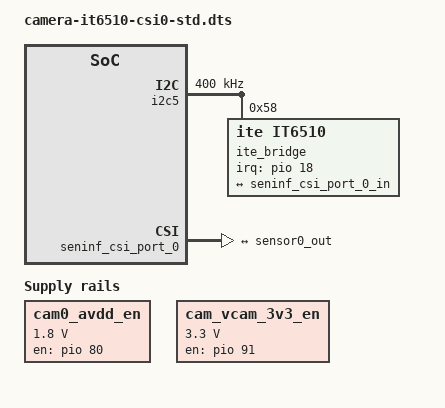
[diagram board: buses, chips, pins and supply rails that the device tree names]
// SPDX-License-Identifier: GPL-2.0
/*
 * Copyright (c) 2023 MediaTek Inc.
 *
 */

#include <dt-bindings/clock/mediatek,mt8188-clk.h>
#include <dt-bindings/gpio/gpio.h>
#include <dt-bindings/pinctrl/mediatek,mt8188-pinfunc.h>

/dts-v1/;
/plugin/;

#include "isp71.dtsi"

/ {
	fragment@4 {
		target-path = "/";
		__overlay__ {
			cam0_avdd_en: cam0-avdd-en-regulator {
				compatible = "regulator-fixed";
				regulator-name = "cam0_avdd_en";
				regulator-min-microvolt = <1800000>;
				regulator-max-microvolt = <1800000>;
				gpio = <&pio 80 0>;
				startup-delay-us = <18000>;
				enable-active-high;
				regulator-always-on;
				pinctrl-names = "default";
				pinctrl-0 = <&cam0_avdd_en_pins>;
			};

			cam_vcam_3v3_en: cam-vcam-3v3-en-regulator {
				compatible = "regulator-fixed";
				regulator-name = "cam_vcam_3v3_en";
				regulator-min-microvolt = <3300000>;
				regulator-max-microvolt = <3300000>;
				gpio = <&pio 91 GPIO_ACTIVE_HIGH>;
				enable-active-high;
				regulator-always-on;
				pinctrl-names = "default";
				pinctrl-0 = <&cam_vcam_3v3_en_pins>;
			};
		};
	};

	fragment@5 {
		target = <&spi2>;
		__overlay__ {
			status = "disabled";
		};
	};

	fragment@6 {
		target = <&pio>;
		__overlay__ {
			cam0_pins_default: cam0_pins_default {
				pins_cmd_dat {
					pinmux = <PINMUX_GPIO19__FUNC_B_GPIO19>,
						 <PINMUX_GPIO18__FUNC_B_GPIO18>;
				};
			};

			cam0_avdd_en_pins: cam0-avdd-en-pins {
				pins_cmd_dat {
					pinmux = <PINMUX_GPIO80__FUNC_B_GPIO80>;
				};
			};

			cam_vcam_3v3_en_pins: cam-vcam-3v3-en-pins {
				pins_cmd_dat {
					pinmux = <PINMUX_GPIO91__FUNC_B_GPIO91>;
				};
			};
		};
	};

	fragment@7 {
		target = <&i2c5>;
		__overlay__ {
			clock-frequency = <400000>;

			ite_bridge: it6510@58 {
				compatible = "ite,it6510";

				reg = <0x58>;
				status = "okay";

				pinctrl-names = "default";
				pinctrl-0 = <&cam0_pins_default>;

				interrupt-parent = <&pio>;
				interrupts = <18 IRQ_TYPE_LEVEL_LOW>;

				dp-lanes = /bits/ 8 <4>;
				dp-bitrate = /bits/ 8 <0x14>;

				port {
					sensor0_out: endpoint {
						remote-endpoint = <&seninf_csi_port_0_in>;
						data-lanes = <1 2 3 4>;
						link-frequencies = /bits/ 64 <480000000>;
					};
				};
			};
		};
	};

	fragment@8 {
		target = <&seninf_top>;
		__overlay__ {
			seninf_csi_port_0: seninf_csi_port_0 {
				compatible = "mediatek,seninf";
				csi-port = "0";
				hs_trail_parameter = <0x0>;

				port {
					seninf_csi_port_0_in: endpoint {
						remote-endpoint = <&sensor0_out>;
						data-lanes = <1 2 3 4>;
					};
				};
			};
		};
	};

	fragment@9 {
		target = <&hcp>;
		__overlay__ {
			status = "disabled";
		};
	};

	fragment@10 {
		target-path = "/soc/hcp_l15";
		__overlay__ {
			status = "disabled";
		};
	};

	fragment@11 {
		target-path = "/soc/imgsys_l10";
		__overlay__ {
			status = "disabled";
		};
	};

	fragment@12 {
		target-path = "/soc/imgsys_l11A";
		__overlay__ {
			status = "disabled";
		};
	};

	fragment@13 {
		target-path = "/soc/imgsys_l11C";
		__overlay__ {
			status = "disabled";
		};
	};

	fragment@14 {
		target = <&imgsys_fw>;
		__overlay__ {
			status = "disabled";
		};
	};

	fragment@15 {
		target = <&ipesys_me>;
		__overlay__ {
			status = "disabled";
		};
	};
};
